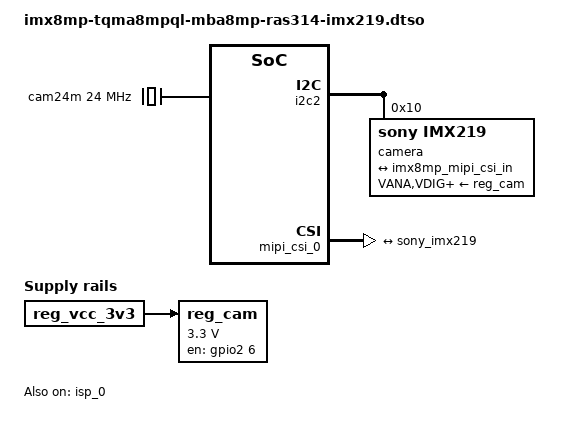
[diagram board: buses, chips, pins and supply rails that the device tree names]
// SPDX-License-Identifier: GPL-2.0-or-later OR MIT
/*
 * Copyright 2022-2025 TQ-Systems GmbH <linux@ew.tq-group.com>,
 * D-82229 Seefeld, Germany.
 * Author: Alexander Stein
 */
/dts-v1/;
/plugin/;

#include <dt-bindings/gpio/gpio.h>
#include <dt-bindings/media/video-interfaces.h>

#include "imx8mp-pinfunc.h"

&{/} {
	/*
	 * The three camera regulators are controlled by a single GPIO. Declare
	 * a single regulator for the three supplies.
	 */
	reg_cam: regulator-cam {
		compatible = "regulator-fixed";
		regulator-name = "reg_cam";
		/* pad muxing already done in gpio2grp */
		gpio = <&gpio2 6 GPIO_ACTIVE_HIGH>;
		enable-active-high;
		vin-supply = <&reg_vcc_3v3>;
		regulator-min-microvolt = <3300000>;
		regulator-max-microvolt = <3300000>;
	};

	cam24m: clock-cam24m {
		compatible = "fixed-clock";
		#clock-cells = <0>;
		clock-frequency = <24000000>;
		clock-output-names = "cam24m";
	};
};

&i2c2 {
	#address-cells = <1>;
	#size-cells = <0>;

	camera@10 {
		compatible = "sony,imx219";
		reg = <0x10>;
		clocks = <&cam24m>;
		VANA-supply = <&reg_cam>;
		VDIG-supply = <&reg_cam>;
		VDDL-supply = <&reg_cam>;
		orientation = <2>;
		rotation = <0>;

		port {
			sony_imx219: endpoint {
				remote-endpoint = <&imx8mp_mipi_csi_in>;
				clock-lanes = <0>;
				clock-noncontinuous;
				data-lanes = <1 2>;
				link-frequencies = /bits/ 64 <456000000>;
			};
		};
	};
};

&isi_0 {
	status = "disabled";

	ports {
		port@0 {
			/delete-node/ endpoint;
		};
	};
};

&isp_0 {
	status = "okay";

	ports {
		port@1 {
			isp0_in: endpoint {
				bus-type = <MEDIA_BUS_TYPE_PARALLEL>;
				remote-endpoint = <&mipi_csi_0_out>;
			};
		};
	};
};

&mipi_csi_0 {
	status = "okay";

	ports {
		#address-cells = <1>;
		#size-cells = <0>;

		port@0 {
			imx8mp_mipi_csi_in: endpoint {
				remote-endpoint = <&sony_imx219>;
				clock-lanes = <0>;
				data-lanes = <1 2>;
			};
		};
	};
};

&mipi_csi_0_out {
	remote-endpoint = <&isp0_in>;
};
